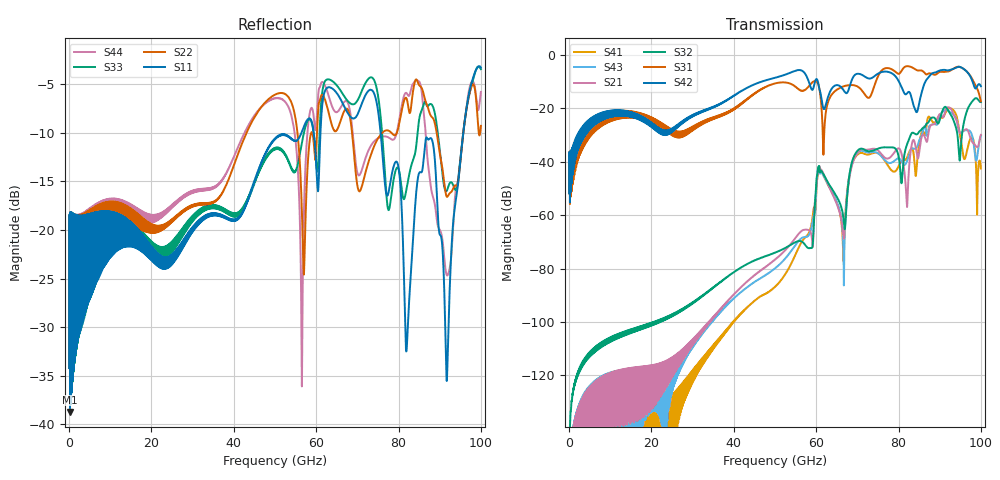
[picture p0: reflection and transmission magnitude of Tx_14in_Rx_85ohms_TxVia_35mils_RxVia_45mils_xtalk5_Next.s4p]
! Info: Touchstone file created by Circ.  Input file=Tx_14in_Rx_85ohms_TxVia_35mils_RxVia_45mils.circ
# Hz S RI R 50
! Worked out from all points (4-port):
!   10000 points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, 10 MHz to 100 GHz, reference 50 ohm
!   strongest paths, dB at 10 MHz, 25.01 GHz, 50.01 GHz, 75.01 GHz, 100 GHz:
!     S42: -51.8, -28.5, -8.5, -7.0, -11.7
!     S31: -51.8, -28.8, -10.7, -8.0, -17.3
!     S32: -162.3, -97.8, -74.0, -35.1, -17.6
!     S21: -175.7, -120.1, -76.5, -35.7, -29.9
!     S43: -175.6, -126.0, -79.8, -36.8, -30.4
!     S41: -181.0, -127.2, -86.7, -36.8, -42.5
!   lowest |S11| = -38.7 dB at 230 MHz (marker M1), VSWR 1.02, Z = 49.2 - j0.825 ohm
!   |S11| at or under -10 dB: start of sweep to 56.42 GHz; 59.4 GHz to 61.04 GHz (1.639 GHz wide, 2.72 % of centre); 75.66 GHz to 95.73 GHz (20.08 GHz wide, 23.4 % of centre)
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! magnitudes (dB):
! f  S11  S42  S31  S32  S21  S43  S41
! 10 MHz  -34.2  -51.8  -51.8  -162.3  -175.7  -175.6  -181.0
! 230 MHz  -38.7  -44.8  -44.9  -138.7  -152.8  -152.7  -159.3
! 58.6 GHz  -8.6  -11.8  -11.0  -72.3  -66.2  -66.1  -65.1
! 60.75 GHz  -13.5  -12.6  -12.3  -41.8  -41.6  -41.9  -41.9
! 66.61 GHz  -7.1  -13.1  -11.8  -61.0  -67.6  -72.6  -76.6
! 91.75 GHz  -35.4  -5.7  -6.3  -20.0  -19.8  -20.5  -20.6
! 100 GHz  -3.3  -11.7  -17.3  -17.6  -29.9  -30.4  -42.5
